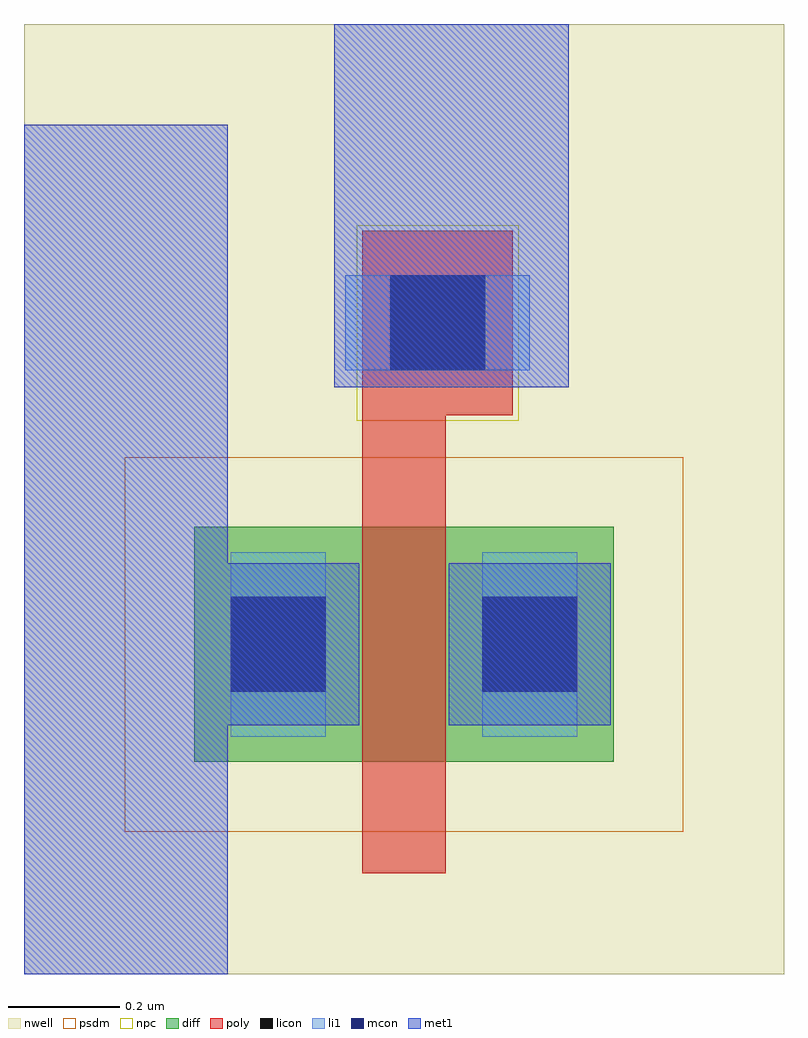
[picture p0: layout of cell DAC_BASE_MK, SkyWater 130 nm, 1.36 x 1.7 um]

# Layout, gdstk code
import gdstk
lib = gdstk.Library(unit=1e-6, precision=1e-09)
def R(c, l, rs):  # rectangles x0, y0, x1, y1
    for r in rs: c.add(gdstk.rectangle(r[:2], r[2:], *l))
nwell = (64, 20)
diff = (65, 20)
poly = (66, 20)
licon = (66, 44)
li1 = (67, 20)
mcon = (67, 44)
met1 = (68, 20)
psdm = (94, 20)
npc = (95, 20)

dac_base_mk = lib.new_cell('DAC_BASE_MK')
R(dac_base_mk, nwell, [(-0.305,-0.38,1.055,1.32)])
R(dac_base_mk, diff, [(0,0,0.75,0.42)])
R(dac_base_mk, poly, [(0.3,-0.2,0.45,0.62), (0.3,0.62,0.57,0.95)])
R(dac_base_mk, licon, [(0.065,0.125,0.235,0.295), (0.515,0.125,0.685,0.295), (0.35,0.7,0.52,0.87)])
R(dac_base_mk, li1, [(0.065,0.045,0.235,0.375), (0.515,0.045,0.685,0.375), (0.27,0.7,0.6,0.87)])
R(dac_base_mk, mcon, [(0.065,0.125,0.235,0.295), (0.515,0.125,0.685,0.295), (0.35,0.7,0.52,0.87)])
R(dac_base_mk, met1, [(-0.305,-0.38,0.06,1.14), (0.005,0.065,0.295,0.355), (0.455,0.065,0.745,0.355), (0.25,0.67,0.62,0.9), (0.62,0.67,0.67,0.9), (0.25,0.9,0.67,1.32)])
R(dac_base_mk, psdm, [(-0.125,-0.125,0.875,0.545)])
R(dac_base_mk, npc, [(0.29,0.61,0.58,0.96)])

lib.write_gds('DAC_BASE_MK.gds')
